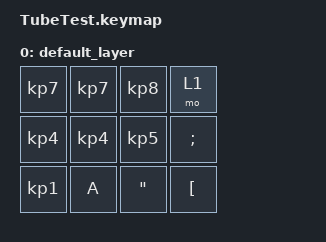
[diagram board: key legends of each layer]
#include <behaviors.dtsi>
#include <dt-bindings/zmk/keys.h>

/ {  
    keymap {
        compatible = "zmk,keymap";

        default_layer {
            bindings = <
                &kp KP_N7 &kp KP_N7    &kp KP_N8     &mo 1
                &kp KP_N4 &kp KP_N4    &kp KP_N5     &kp SEMI
                &kp KP_N1 &kp A    &kp DQT     &kp LBKT
            >;
        }; 
        
    };
};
